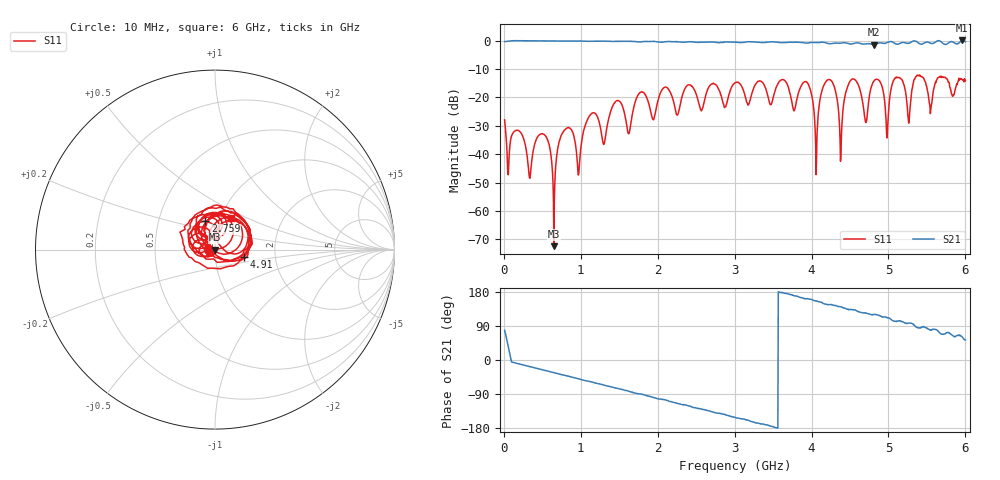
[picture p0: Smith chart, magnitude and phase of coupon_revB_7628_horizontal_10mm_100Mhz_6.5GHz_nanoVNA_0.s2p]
! NanoVNA-App
! Date: 2026-11-01 17:49:13
! Start: 10MHz Stop: 6GHz Points: 1001
! S-Parameter data: F S11 S21 S12 S22
# Hz S RI R 50
!  Frequency  S11_Real  S11_Imag  S21_Real  S21_Imag  S12_Real  S12_Imag  S22_Real  S22_Imag
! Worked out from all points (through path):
!   1001 points, 10 MHz to 6 GHz, reference 50 ohm
!   highest |S21| = 0.11 dB at 5.958 GHz (marker M1); lowest = -1.4 dB at 4.808 GHz (marker M2)
!   group delay of S21, straight-line fit = 141 ps
!   lowest |S11| = -72.4 dB at 650.9 MHz (marker M3), VSWR 1.00, Z = 50 - j0.0115 ohm
!   |S11| at or under -10 dB: start of sweep to end of sweep
!   S12 and S22 are empty: the file has one direction only
!   S11 on the Smith chart (normalised r, x): 10 MHz: 0.92, +0.01; 2.759 GHz: 0.86, +0.28; 4.91 GHz: 1.38, -0.11; 6 GHz: 1.11, +0.41
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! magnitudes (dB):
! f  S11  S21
! 10 MHz  -27.9  -0.3
! 333.5 MHz  -48.3  0.0
! 531.1 MHz  -33.2  0.0
! 650.9 MHz  -72.4  0.0
! 776.7 MHz  -31.9  -0.1
! 1.01 GHz  -35.8  -0.1
! 2.011 GHz  -20.3  -0.4
! 2.759 GHz  -15.6  -0.6
! 3.005 GHz  -14.9  -0.5
! 4.005 GHz  -19.6  -0.6
! 4.065 GHz  -41.2  -0.6
! 4.251 GHz  -13.9  -1.0
! 4.383 GHz  -39.7  -0.8
! 4.503 GHz  -14.2  -1.2
! 4.706 GHz  -28.8  -1.1
! 4.808 GHz  -14.3  -1.4
! 4.91 GHz  -15.6  -0.8
! 5.006 GHz  -23.3  -0.4
! 5.107 GHz  -12.8  -1.2
! 5.263 GHz  -29.1  -0.9
! 5.958 GHz  -13.6  0.1
! 6 GHz  -14.1  -0.4
